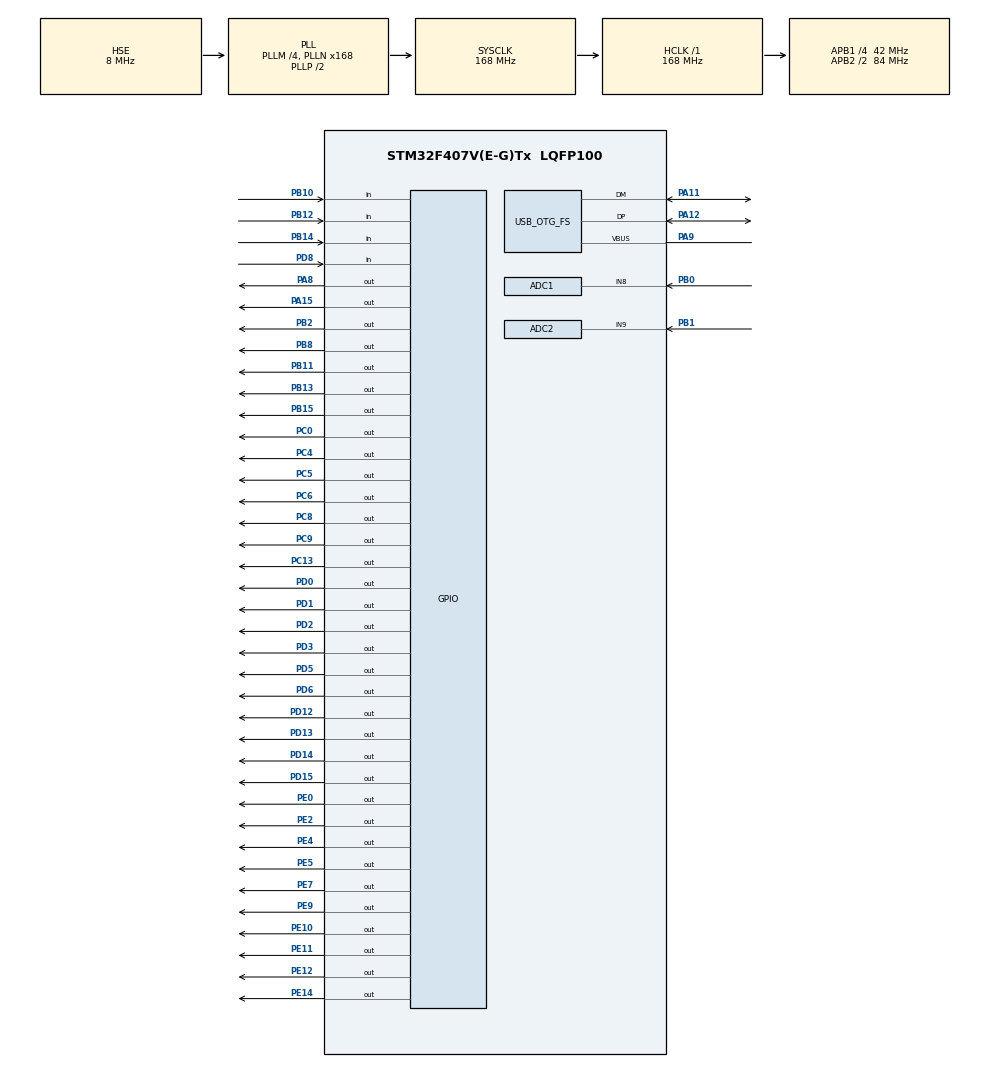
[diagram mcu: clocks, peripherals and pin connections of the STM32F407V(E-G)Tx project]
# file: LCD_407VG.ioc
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ADC1.Channel-0\#ChannelRegularConversion=ADC_CHANNEL_8
ADC1.ClockPrescaler=ADC_CLOCK_SYNC_PCLK_DIV4
ADC1.ContinuousConvMode=ENABLE
ADC1.DMAContinuousRequests=DISABLE
ADC1.DataAlign=ADC_DATAALIGN_RIGHT
ADC1.DiscontinuousConvMode=DISABLE
ADC1.EOCSelection=ADC_EOC_SINGLE_CONV
ADC1.EnableAnalogWatchDog=false
ADC1.ExternalTrigConv=ADC_SOFTWARE_START
ADC1.ExternalTrigConvEdge=ADC_EXTERNALTRIGCONVEDGE_NONE
ADC1.InjNumberOfConversion=0
ADC1.NbrOfConversion=1
ADC1.NbrOfConversionFlag=1
ADC1.Rank-0\#ChannelRegularConversion=1
ADC1.Resolution=ADC_RESOLUTION_12B
ADC1.SamplingTime-0\#ChannelRegularConversion=ADC_SAMPLETIME_3CYCLES
ADC1.ScanConvMode=ENABLE
ADC1.master=1
ADC2.Channel-0\#ChannelRegularConversion=ADC_CHANNEL_9
ADC2.ContinuousConvMode=ENABLE
ADC2.NbrOfConversionFlag=1
ADC2.Rank-0\#ChannelRegularConversion=1
ADC2.SamplingTime-0\#ChannelRegularConversion=ADC_SAMPLETIME_3CYCLES
ADC2.ScanConvMode=ENABLE
FATFS._CODE_PAGE=437
FATFS._MAX_SS=4096
FATFS._STRF_ENCODE=3
FATFS._USE_LFN=1
Mcu.Family=STM32F4
Mcu.Name=STM32F407V(E-G)Tx
Mcu.Package=LQFP100
NVIC.OTG_FS_IRQn=true\:0\:0\:false\:false\:true\:false
NVIC.PriorityGroup=NVIC_PRIORITYGROUP_4
NVIC.TIM1_BRK_TIM9_IRQn=true\:0\:0\:false\:false\:true\:true
NVIC.TIM2_IRQn=true\:0\:0\:false\:false\:true\:true
NVIC.TIM3_IRQn=true\:0\:0\:false\:false\:true\:true
NVIC.TIM4_IRQn=true\:0\:0\:false\:false\:true\:true
NVIC.TIM5_IRQn=true\:0\:0\:false\:false\:true\:true
NVIC.TIM8_BRK_TIM12_IRQn=true\:0\:0\:false\:false\:true\:true
PA11.Mode=Host_Only
PA11.Signal=USB_OTG_FS_DM
PA12.Mode=Host_Only
PA12.Signal=USB_OTG_FS_DP
PA15.Signal=GPIO_Output
PA8.Signal=GPIO_Output
PA9.Mode=Activate_VBUS
PA9.Signal=USB_OTG_FS_VBUS
PB0.Signal=ADCx_IN8
PB1.Signal=ADCx_IN9
PB10.GPIO_PuPd=GPIO_NOPULL
PB10.Signal=GPIO_Input
PB11.Signal=GPIO_Output
PB12.GPIO_PuPd=GPIO_NOPULL
PB12.Signal=GPIO_Input
PB13.Signal=GPIO_Output
PB14.GPIO_PuPd=GPIO_NOPULL
PB14.Signal=GPIO_Input
PB15.Signal=GPIO_Output
PB2.Signal=GPIO_Output
PB8.Signal=GPIO_Output
PC0.Signal=GPIO_Output
PC13-ANTI_TAMP.Signal=GPIO_Output
PC4.Signal=GPIO_Output
PC5.Signal=GPIO_Output
PC6.Signal=GPIO_Output
PC8.Signal=GPIO_Output
PC9.Signal=GPIO_Output
PD0.Signal=GPIO_Output
PD1.Signal=GPIO_Output
PD12.PinState=GPIO_PIN_RESET
PD12.Signal=GPIO_Output
PD13.Signal=GPIO_Output
PD14.Signal=GPIO_Output
PD15.Signal=GPIO_Output
PD2.Signal=GPIO_Output
PD3.Signal=GPIO_Output
PD5.Signal=GPIO_Output
PD6.Signal=GPIO_Output
PD8.GPIO_PuPd=GPIO_NOPULL
PD8.Signal=GPIO_Input
PE0.Signal=GPIO_Output
PE10.Signal=GPIO_Output
PE11.Signal=GPIO_Output
PE12.Signal=GPIO_Output
PE14.Signal=GPIO_Output
PE2.Signal=GPIO_Output
PE4.Signal=GPIO_Output
PE5.Signal=GPIO_Output
PE7.Signal=GPIO_Output
PE9.Signal=GPIO_Output
PH0-OSC_IN.Mode=HSE-External-Clock-Source
PH0-OSC_IN.Signal=RCC_OSC_IN
PH1-OSC_OUT.Mode=HSE-External-Clock-Source
PH1-OSC_OUT.Signal=RCC_OSC_OUT
ProjectManager.HeapSize=0x200
ProjectManager.StackSize=0x400
ProjectManager.TargetToolchain=Makefile
RCC.48MHZClocksFreq_Value=48000000
RCC.AHBFreq_Value=168000000
RCC.APB1CLKDivider=RCC_HCLK_DIV4
RCC.APB1Freq_Value=42000000
RCC.APB1TimFreq_Value=84000000
RCC.APB2CLKDivider=RCC_HCLK_DIV2
RCC.APB2Freq_Value=84000000
RCC.APB2TimFreq_Value=168000000
RCC.CortexFreq_Value=168000000
RCC.HCLKFreq_Value=168000000
RCC.HSE_VALUE=8000000
RCC.HSI_VALUE=16000000
RCC.LSE_VALUE=32768
RCC.PLLM=4
RCC.PLLN=168
RCC.PLLQ=7
RCC.SYSCLKFreq_VALUE=168000000
RCC.SYSCLKSource=RCC_SYSCLKSOURCE_PLLCLK
RCC.VCOOutputFreq_Value=336000000
SH.ADCx_IN8.0=ADC1_IN8,IN8
SH.ADCx_IN9.0=ADC2_IN9,IN9
TIM12.Period=1000
TIM12.Prescaler=8
TIM2.Period=50
TIM2.Prescaler=960
TIM3.Period=2
TIM3.Prescaler=512
TIM4.Period=1000
TIM4.Prescaler=50000
TIM5.Period=20000
TIM5.Prescaler=84
TIM9.Period=1
TIM9.Prescaler=168
USB_HOST.USBH_HandleTypeDef-MSC_FS=hUsbHostFS
USB_HOST.VirtualModeFS=Msc
USB_OTG_FS.VirtualMode=Host_Only
USB_OTG_FS.phy_itface=HCD_PHY_EMBEDDED
VP_FATFS_VS_USB.Mode=USB
VP_TIM12_VS_ClockSourceINT.Mode=Internal
VP_TIM2_VS_ClockSourceINT.Mode=Internal
VP_TIM3_VS_ClockSourceINT.Mode=Internal
VP_TIM4_VS_ClockSourceINT.Mode=Internal
VP_TIM5_VS_ClockSourceINT.Mode=Internal
VP_TIM9_VS_ClockSourceINT.Mode=Internal
VP_USB_HOST_VS_USB_HOST_MSC_FS.Mode=MSC_FS
board=LCD_407VG

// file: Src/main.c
/**
  ******************************************************************************
  * File Name          : main.c
  * Description        : Main program body
  ******************************************************************************
  * This notice applies to any and all portions of this file
  * that are not between comment pairs USER CODE BEGIN and
  * USER CODE END. Other portions of this file, whether
  * inserted by the user or by software development tools
  * are owned by their respective copyright owners.
  *
  * Copyright (c) 2018 STMicroelectronics International N.V.
  * All rights reserved.
  *
  * Redistribution and use in source and binary forms, with or without
  * modification, are permitted, provided that the following conditions are met:
  *
  * 1. Redistribution of source code must retain the above copyright notice,
  *    this list of conditions and the following disclaimer.
  * 2. Redistributions in binary form must reproduce the above copyright notice,
  *    this list of conditions and the following disclaimer in the documentation
  *    and/or other materials provided with the distribution.
  * 3. Neither the name of STMicroelectronics nor the names of other
  *    contributors to this software may be used to endorse or promote products
  *    derived from this software without specific written permission.
  * 4. This software, including modifications and/or derivative works of this
  *    software, must execute solely and exclusively on microcontroller or
  *    microprocessor devices manufactured by or for STMicroelectronics.
  * 5. Redistribution and use of this software other than as permitted under
  *    this license is void and will automatically terminate your rights under
  *    this license.
  *
  * THIS SOFTWARE IS PROVIDED BY STMICROELECTRONICS AND CONTRIBUTORS "AS IS"
  * AND ANY EXPRESS, IMPLIED OR STATUTORY WARRANTIES, INCLUDING, BUT NOT
  * LIMITED TO, THE IMPLIED WARRANTIES OF MERCHANTABILITY, FITNESS FOR A
  * PARTICULAR PURPOSE AND NON-INFRINGEMENT OF THIRD PARTY INTELLECTUAL PROPERTY
  * RIGHTS ARE DISCLAIMED TO THE FULLEST EXTENT PERMITTED BY LAW. IN NO EVENT
  * SHALL STMICROELECTRONICS OR CONTRIBUTORS BE LIABLE FOR ANY DIRECT, INDIRECT,
  * INCIDENTAL, SPECIAL, EXEMPLARY, OR CONSEQUENTIAL DAMAGES (INCLUDING, BUT NOT
  * LIMITED TO, PROCUREMENT OF SUBSTITUTE GOODS OR SERVICES; LOSS OF USE, DATA,
  * OR PROFITS; OR BUSINESS INTERRUPTION) HOWEVER CAUSED AND ON ANY THEORY OF
  * LIABILITY, WHETHER IN CONTRACT, STRICT LIABILITY, OR TORT (INCLUDING
  * NEGLIGENCE OR OTHERWISE) ARISING IN ANY WAY OUT OF THE USE OF THIS SOFTWARE,
  * EVEN IF ADVISED OF THE POSSIBILITY OF SUCH DAMAGE.
  *
  ******************************************************************************
  */

#include "main.h"
#include "stm32f4xx_hal.h"
#include "fatfs.h"
#include "usb_host.h"

/* USER CODE BEGIN Includes */
#include <stdio.h>
#include <stdbool.h>
#include "LCD.h"
#include "MenuLibrary.h"
#include "StatusLEDs.h"
#include "USBdriveLib.h"
#include "config.h"
#include "init.h"
#include "global_variables.h"
#include "Flash.h"
/* USER CODE END Includes */

ADC_HandleTypeDef hadc1;
ADC_HandleTypeDef hadc2;

TIM_HandleTypeDef htim2;
TIM_HandleTypeDef htim3;
TIM_HandleTypeDef htim4;
TIM_HandleTypeDef htim5;
TIM_HandleTypeDef htim9;
TIM_HandleTypeDef htim12;

/* USER CODE BEGIN PV */
/* Private variables ---------------------------------------------------------*/
extern ApplicationTypeDef Appli_state;
extern USBH_HandleTypeDef hUsbHostFS;
/* USER CODE END PV */

void SystemClock_Config(void);
static void MX_GPIO_Init(void);
static void MX_TIM3_Init(void);
static void MX_TIM2_Init(void);
static void MX_TIM4_Init(void);
static void MX_TIM9_Init(void);
static void MX_TIM5_Init(void);
static void MX_ADC1_Init(void);
static void MX_TIM12_Init(void);
static void MX_ADC2_Init(void);
void MX_USB_HOST_Process(void);

/* USER CODE BEGIN PFP */
/* Private function prototypes -----------------------------------------------*/

/* USER CODE END PFP */

/* USER CODE BEGIN 0 */
volatile unsigned int Lines = 3;
volatile unsigned int MenuLayers = MENU_LAYERS;
volatile unsigned int CurrentLayer = 0;
volatile int CurrentMenuPosition[MENU_LAYERS];

volatile int portAPin15Counter=0;
volatile _Bool SetLCD = false;
volatile unsigned int PeriodsToGo = 10;
volatile _Bool UpdateLCD = false;
volatile unsigned int PhaseLCD = 1;
volatile const int TotalPhasesLCDSetup = 13*4;//13;
volatile const int TotalPhasesLCDUpdate = 8*4;//8;
volatile char Text[4][TEXT_LENGTH];

volatile unsigned int colomn = 1;
volatile unsigned int row = 1;

volatile const int CheckCircles = 300;
volatile const int jOnThreshold = 150;
volatile int jTimer = 0;
volatile int jOnUP=0; // PB14
volatile int jOnDOWN=0; // PD8
volatile int jOnOK=0; // PB10
volatile int jOnBACK=0; // PB12
//For the flash-drive
volatile int flashDriveRootContent = 1;

//Global control
volatile int printerState = IDLE;

//Menu options

//The list of the menu nodes
 volatile menuNode print =            {.title = "___MAIN MENU____\0", .name = " Print          \0", .nodeType = PRINTNODETYPE, .mode=OFFMODE};
 volatile menuNode settings =         {.title = "___MAIN MENU____\0", .name = " Settings       \0", .nodeType = SIMPLENODETYPE, .mode=OFFMODE};
     volatile menuNode typeOfPlastic =  {.title = "____SETTINGS____\0", .name = " Type of plastic\0", .nodeType = SIMPLENODETYPE, .mode=OFFMODE};
         volatile menuNode ABSplastic =   {.title = "TYPE OF PLASTIC_\0", .name = " ABS plastic    \0", .nodeType = ABSPLASTICNODETYPE, .mode=OFFMODE};
         volatile menuNode PLAplastic =   {.title = "TYPE OF PLASTIC_\0", .name = " PLA plastic    \0", .nodeType = PLAPLASTICNODETYPE, .mode=OFFMODE};
     volatile menuNode extruderTemperature = {.title = "____SETTINGS____\0", .name = " Extruder temp. \0", .nodeType = EXTRUDERTEMPERATURENODETYPE, .mode=OFFMODE};
     volatile menuNode bedTemperature =      {.title = "____SETTINGS____\0", .name = " Bed temp.      \0", .nodeType = BEDTEMPERATURENODETYPE, .mode=OFFMODE};
     volatile menuNode printCube =     {.title = "____SETTINGS____\0", .name = " Print a cube   \0", .nodeType = SIMPLENODETYPE, .mode=OFFMODE};
     volatile menuNode language =      {.title = "____SETTINGS____\0", .name = " Language       \0", .nodeType = SIMPLENODETYPE, .mode=OFFMODE};
         volatile menuNode english =     {.title = "____LANGUAGE____\0", .name = " English        \0", .nodeType = ENGLISHNODETYPE, .mode=OFFMODE};
         volatile menuNode russian =     {.title = "____LANGUAGE____\0", .name = " Russian        \0", .nodeType = RUSSIANNODETYPE, .mode=OFFMODE};
 volatile menuNode changeFilament =   {.title = "___MAIN MENU____\0", .name = " Change filament\0", .nodeType = CHANGEFILAMENTNODETYPE, .mode=OFFMODE};
 volatile menuNode help =             {.title = "___MAIN MENU____\0", .name = " Help           \0", .nodeType = HELPNODETYPE, .mode=OFFMODE};
//Pointer to a menu
volatile menuNode * pcurrentMenuNode = & print;

//For a USB Flash-Drive

/* USER CODE END 0 */

int main(void)
{

  /* USER CODE BEGIN 1 */
  //Kostyl!!!
  sprintf(extruderTemperature.name, "%s%c%s",  " Extruder t", 0b11101111, "C   \0");
  sprintf(bedTemperature.name, "%s%c%s",  " Bed t", 0b11101111, "C        \0");
  sprintf(russian.name, "%c%c%c%c%c%c%c%c%c%c%c%c%c%c%c%c%c", ' ','P','y','c','c',0b10111010,0b10111000,0b10111001,' ',' ',' ',' ',' ',' ',' ',' ','\0');
  //sprintf(ABSplastic.name, "%s%c%s",  " ABS plastic ", 0b01111110, "  ");
  //Menu nodes initialization
  //HAL_GPIO_WritePin(GPIOD, GPIO_PIN_12, GPIO_PIN_SET);

  /* CurrentMenuPosition initialization */
  /*volatile int i=0;
  for (i=0; i<MenuLayers; i++)
  {
    CurrentMenuPosition[i]=0;
  };
  CurrentMenuPosition[CurrentLayer]=1;*/
  /* Text initialization */
  /*volatile int bufPosition = CurrentMenuPosition[CurrentLayer];
  sprintf(Text[0],MenuTitle(CurrentMenuPosition));
  CurrentMenuPosition[CurrentLayer]=bufPosition;
  for (i=1; i<Lines+1; i++)
  {
    sprintf(Text[i],MenuOption(CurrentMenuPosition));
    CurrentMenuPosition[CurrentLayer]+=1;
  };
  CurrentMenuPosition[CurrentLayer]=bufPosition;
  Text[1][0] = '>';*/
  /* USER CODE END 1 */

  /* MCU Configuration----------------------------------------------------------*/

  /* Reset of all peripherals, Initializes the Flash interface and the Systick. */
  HAL_Init();

  /* Configure the system clock */
  SystemClock_Config();

  /* Initialize all configured peripherals */
  MX_GPIO_Init();
  MX_TIM3_Init();
  MX_TIM2_Init();
  MX_USB_HOST_Init();
  MX_FATFS_Init();
  MX_TIM4_Init();
  MX_TIM9_Init();
  MX_TIM5_Init();
  MX_ADC1_Init();
  MX_TIM12_Init();
  MX_ADC2_Init();

  /* USER CODE BEGIN 2 */
  /*Setup the Pins*/
  NodeInitialization();
  pcurrentMenuNode = & print;
  loadNewScreen(pcurrentMenuNode);
  SetPins();
  /*Initialize the timer 2*/
  HAL_TIM_Base_Start_IT(&htim2);
  HAL_NVIC_EnableIRQ(TIM2_IRQn);
  /*Initialize the timer 3*/
  HAL_TIM_Base_Start_IT(&htim3);
  HAL_NVIC_EnableIRQ(TIM3_IRQn);
  /*Initialize the timer 4*/
  HAL_TIM_Base_Start_IT(&htim4);
  HAL_NVIC_EnableIRQ(TIM4_IRQn);
    /*Initialize the timer 8*/
  HAL_TIM_Base_Start_IT(&htim5);
  //HAL_NVIC_EnableIRQ(TIM8_IRQn);
    /*Initialize the timer 9*/
  HAL_TIM_Base_Start_IT(&htim9);
    /*Initialize the timer 12*/
  HAL_TIM_Base_Start_IT(&htim12);
  //HAL_NVIC_EnableIRQ(TIM9_IRQn);

    //HAL_GPIO_WritePin(GPIOD, GPIO_PIN_12, GPIO_PIN_SET);
    //HAL_GPIO_WritePin(GPIOD, GPIO_PIN_13, GPIO_PIN_SET);
    //HAL_GPIO_WritePin(GPIOD, GPIO_PIN_14, GPIO_PIN_SET);
    //HAL_GPIO_WritePin(GPIOD, GPIO_PIN_15, GPIO_PIN_SET);
    //PinD12On();
  //UpdateLCD=true;
  //while(UpdateLCD) {}

  //Errase the flash memory. Commented by default
/*
  HAL_FLASH_Unlock();
  __HAL_FLASH_CLEAR_FLAG( FLASH_FLAG_EOP |  FLASH_FLAG_WRPERR | FLASH_FLAG_PGAERR | FLASH_FLAG_PGPERR | FLASH_FLAG_PGSERR);
  FLASH_Erase_Sector(FLASH_SECTOR_11, FLASH_VOLTAGE_RANGE_3);
  HAL_FLASH_Lock();
*/

  //First look into the flash memory
  if ((*(uint16_t *)(startAddress))==(uint16_t)0) //flash memory is clean
  {
    //take all the variables from the data
    CurrentLanguage = data[1];
    extruderTargetTamperature = data[2];
    bedTargetTamperature = data[3];
    plasticType = data[4];
  }else if((*(uint16_t *)(startAddress))==(uint16_t)1){ //if the flash memory contain any information
    //Extract the information from the flash memory
    readFlash();
  }

  //Plastic type setting
  if (plasticType == PLA)
  {
    extruderHigherTamperature = PLAHIGHEREXTRUDERTEMPERATURE;
    extruderLowerTamperature = PLALOWEREXTRUDERTEMPERATURE;
    bedHigherTamperature = PLAHIGHERBEDTEMPERATURE;
    bedLowerTamperature = PLALOWERBEDTEMPERATURE;
  }else if(plasticType == ABS){
    extruderHigherTamperature = ABSHIGHEREXTRUDERTEMPERATURE;
    extruderLowerTamperature = ABSLOWEREXTRUDERTEMPERATURE;
    bedHigherTamperature = ABSHIGHERBEDTEMPERATURE;
    bedLowerTamperature = ABSLOWERBEDTEMPERATURE;
  }

  //Draw the menu on LCD for the first time
  switch (CurrentLanguage)
  {
    case ENGLISH:
    SwitchToEnglish();
    break;
    case RUSSIAN:
    SwitchToRussian();
    break;
    default:
    SwitchToRussian();
    break;
  }
  loadNewScreen(pcurrentMenuNode);
  UpdateLCD = true;
  while(UpdateLCD) {}

  /* USER CODE END 2 */

  /* Infinite loop */
  while (1)
  {
    MX_USB_HOST_Process();

  /* USER CODE BEGIN 3 */

    //Debug example
    /*sprintf(Text[0],"%s",NumberToString(current_temperature_extruder));
    UpdateLCD = true;
    while(UpdateLCD)
    {

    }*/

    if (UpdateLCD == false)
    {
      switch (printerState)
      {
        case PRESSEDDOWN:
        pressedDown();
        UpdateLCD = true;
        printerState=IDLE;
        break;
        case PRESSEDUP:
        pressedUp();
        UpdateLCD = true;
        printerState=IDLE;
        break;
        case PRESSEDOK:
        pressedOk();
        UpdateLCD = true;
        printerState=IDLE;
        break;
        case PRESSEDBACK:
        pressedBack();
        UpdateLCD = true;
        printerState=IDLE;
        break;
      }
    }

  }
  /* USER CODE END 3 */

}

/** System Clock Configuration
*/
void SystemClock_Config(void)
{

  RCC_OscInitTypeDef RCC_OscInitStruct;
  RCC_ClkInitTypeDef RCC_ClkInitStruct;

    /**Configure the main internal regulator output voltage
    */
  __HAL_RCC_PWR_CLK_ENABLE();

  __HAL_PWR_VOLTAGESCALING_CONFIG(PWR_REGULATOR_VOLTAGE_SCALE1);

    /**Initializes the CPU, AHB and APB busses clocks
    */
  RCC_OscInitStruct.OscillatorType = RCC_OSCILLATORTYPE_HSE;
  RCC_OscInitStruct.HSEState = RCC_HSE_BYPASS;
  RCC_OscInitStruct.PLL.PLLState = RCC_PLL_ON;
  RCC_OscInitStruct.PLL.PLLSource = RCC_PLLSOURCE_HSE;
  RCC_OscInitStruct.PLL.PLLM = 4;
  RCC_OscInitStruct.PLL.PLLN = 168;
  RCC_OscInitStruct.PLL.PLLP = RCC_PLLP_DIV2;
  RCC_OscInitStruct.PLL.PLLQ = 7;
  if (HAL_RCC_OscConfig(&RCC_OscInitStruct) != HAL_OK)
  {
    _Error_Handler(__FILE__, __LINE__);
  }

    /**Initializes the CPU, AHB and APB busses clocks
    */
  RCC_ClkInitStruct.ClockType = RCC_CLOCKTYPE_HCLK|RCC_CLOCKTYPE_SYSCLK
                              |RCC_CLOCKTYPE_PCLK1|RCC_CLOCKTYPE_PCLK2;
  RCC_ClkInitStruct.SYSCLKSource = RCC_SYSCLKSOURCE_PLLCLK;
  RCC_ClkInitStruct.AHBCLKDivider = RCC_SYSCLK_DIV1;
  RCC_ClkInitStruct.APB1CLKDivider = RCC_HCLK_DIV4;
  RCC_ClkInitStruct.APB2CLKDivider = RCC_HCLK_DIV2;

  if (HAL_RCC_ClockConfig(&RCC_ClkInitStruct, FLASH_LATENCY_5) != HAL_OK)
  {
    _Error_Handler(__FILE__, __LINE__);
  }

    /**Configure the Systick interrupt time
    */
  HAL_SYSTICK_Config(HAL_RCC_GetHCLKFreq()/1000);

    /**Configure the Systick
    */
  HAL_SYSTICK_CLKSourceConfig(SYSTICK_CLKSOURCE_HCLK);

  /* SysTick_IRQn interrupt configuration */
  HAL_NVIC_SetPriority(SysTick_IRQn, 0, 0);
}

/* ADC1 init function */
static void MX_ADC1_Init(void)
{

  ADC_ChannelConfTypeDef sConfig;

    /**Configure the global features of the ADC (Clock, Resolution, Data Alignment and number of conversion)
    */
  hadc1.Instance = ADC1;
  hadc1.Init.ClockPrescaler = ADC_CLOCK_SYNC_PCLK_DIV4;
  hadc1.Init.Resolution = ADC_RESOLUTION_12B;
  hadc1.Init.ScanConvMode = ENABLE;
  hadc1.Init.ContinuousConvMode = ENABLE;
  hadc1.Init.DiscontinuousConvMode = DISABLE;
  hadc1.Init.ExternalTrigConvEdge = ADC_EXTERNALTRIGCONVEDGE_NONE;
  hadc1.Init.ExternalTrigConv = ADC_SOFTWARE_START;
  hadc1.Init.DataAlign = ADC_DATAALIGN_RIGHT;
  hadc1.Init.NbrOfConversion = 1;
  hadc1.Init.DMAContinuousRequests = DISABLE;
  hadc1.Init.EOCSelection = ADC_EOC_SINGLE_CONV;
  if (HAL_ADC_Init(&hadc1) != HAL_OK)
  {
    _Error_Handler(__FILE__, __LINE__);
  }

    /**Configure for the selected ADC regular channel its corresponding rank in the sequencer and its sample time.
    */
  sConfig.Channel = ADC_CHANNEL_8;
  sConfig.Rank = 1;
  sConfig.SamplingTime = ADC_SAMPLETIME_3CYCLES;
  if (HAL_ADC_ConfigChannel(&hadc1, &sConfig) != HAL_OK)
  {
    _Error_Handler(__FILE__, __LINE__);
  }

}

/* ADC2 init function */
static void MX_ADC2_Init(void)
{

  ADC_ChannelConfTypeDef sConfig;

    /**Configure the global features of the ADC (Clock, Resolution, Data Alignment and number of conversion)
    */
  hadc2.Instance = ADC2;
  hadc2.Init.ClockPrescaler = ADC_CLOCK_SYNC_PCLK_DIV4;
  hadc2.Init.Resolution = ADC_RESOLUTION_12B;
  hadc2.Init.ScanConvMode = ENABLE;
  hadc2.Init.ContinuousConvMode = ENABLE;
  hadc2.Init.DiscontinuousConvMode = DISABLE;
  hadc2.Init.ExternalTrigConvEdge = ADC_EXTERNALTRIGCONVEDGE_NONE;
  hadc2.Init.ExternalTrigConv = ADC_SOFTWARE_START;
  hadc2.Init.DataAlign = ADC_DATAALIGN_RIGHT;
  hadc2.Init.NbrOfConversion = 1;
  hadc2.Init.DMAContinuousRequests = DISABLE;
  hadc2.Init.EOCSelection = ADC_EOC_SINGLE_CONV;
  if (HAL_ADC_Init(&hadc2) != HAL_OK)
  {
    _Error_Handler(__FILE__, __LINE__);
  }

    /**Configure for the selected ADC regular channel its corresponding rank in the sequencer and its sample time.
    */
  sConfig.Channel = ADC_CHANNEL_9;
  sConfig.Rank = 1;
  sConfig.SamplingTime = ADC_SAMPLETIME_3CYCLES;
  if (HAL_ADC_ConfigChannel(&hadc2, &sConfig) != HAL_OK)
  {
    _Error_Handler(__FILE__, __LINE__);
  }

}

/* TIM2 init function */
static void MX_TIM2_Init(void)
{

  TIM_ClockConfigTypeDef sClockSourceConfig;
  TIM_MasterConfigTypeDef sMasterConfig;

  htim2.Instance = TIM2;
  htim2.Init.Prescaler = 960;
  htim2.Init.CounterMode = TIM_COUNTERMODE_UP;
  htim2.Init.Period = 50;
  htim2.Init.ClockDivision = TIM_CLOCKDIVISION_DIV1;
  if (HAL_TIM_Base_Init(&htim2) != HAL_OK)
  {
    _Error_Handler(__FILE__, __LINE__);
  }

  sClockSourceConfig.ClockSource = TIM_CLOCKSOURCE_INTERNAL;
  if (HAL_TIM_ConfigClockSource(&htim2, &sClockSourceConfig) != HAL_OK)
  {
    _Error_Handler(__FILE__, __LINE__);
  }

  sMasterConfig.MasterOutputTrigger = TIM_TRGO_RESET;
  sMasterConfig.MasterSlaveMode = TIM_MASTERSLAVEMODE_DISABLE;
  if (HAL_TIMEx_MasterConfigSynchronization(&htim2, &sMasterConfig) != HAL_OK)
  {
    _Error_Handler(__FILE__, __LINE__);
  }

}

/* TIM3 init function */
static void MX_TIM3_Init(void)
{

  TIM_ClockConfigTypeDef sClockSourceConfig;
  TIM_MasterConfigTypeDef sMasterConfig;

  htim3.Instance = TIM3;
  htim3.Init.Prescaler = 512;
  htim3.Init.CounterMode = TIM_COUNTERMODE_UP;
  htim3.Init.Period = 2;
  htim3.Init.ClockDivision = TIM_CLOCKDIVISION_DIV1;
  if (HAL_TIM_Base_Init(&htim3) != HAL_OK)
  {
    _Error_Handler(__FILE__, __LINE__);
  }

  sClockSourceConfig.ClockSource = TIM_CLOCKSOURCE_INTERNAL;
  if (HAL_TIM_ConfigClockSource(&htim3, &sClockSourceConfig) != HAL_OK)
  {
    _Error_Handler(__FILE__, __LINE__);
  }

  sMasterConfig.MasterOutputTrigger = TIM_TRGO_RESET;
  sMasterConfig.MasterSlaveMode = TIM_MASTERSLAVEMODE_DISABLE;
  if (HAL_TIMEx_MasterConfigSynchronization(&htim3, &sMasterConfig) != HAL_OK)
  {
    _Error_Handler(__FILE__, __LINE__);
  }

}

/* TIM4 init function */
static void MX_TIM4_Init(void)
{

  TIM_ClockConfigTypeDef sClockSourceConfig;
  TIM_MasterConfigTypeDef sMasterConfig;

  htim4.Instance = TIM4;
  htim4.Init.Prescaler = 50000;
  htim4.Init.CounterMode = TIM_COUNTERMODE_UP;
  htim4.Init.Period = 1000;
  htim4.Init.ClockDivision = TIM_CLOCKDIVISION_DIV1;
  if (HAL_TIM_Base_Init(&htim4) != HAL_OK)
  {
    _Error_Handler(__FILE__, __LINE__);
  }

  sClockSourceConfig.ClockSource = TIM_CLOCKSOURCE_INTERNAL;
  if (HAL_TIM_ConfigClockSource(&htim4, &sClockSourceConfig) != HAL_OK)
  {
    _Error_Handler(__FILE__, __LINE__);
  }

  sMasterConfig.MasterOutputTrigger = TIM_TRGO_RESET;
  sMasterConfig.MasterSlaveMode = TIM_MASTERSLAVEMODE_DISABLE;
  if (HAL_TIMEx_MasterConfigSynchronization(&htim4, &sMasterConfig) != HAL_OK)
  {
    _Error_Handler(__FILE__, __LINE__);
  }

}

/* TIM5 init function */
static void MX_TIM5_Init(void)
{

  TIM_ClockConfigTypeDef sClockSourceConfig;
  TIM_MasterConfigTypeDef sMasterConfig;

  htim5.Instance = TIM5;
  htim5.Init.Prescaler = 84;
  htim5.Init.CounterMode = TIM_COUNTERMODE_UP;
  htim5.Init.Period = 20000;
  htim5.Init.ClockDivision = TIM_CLOCKDIVISION_DIV1;
  if (HAL_TIM_Base_Init(&htim5) != HAL_OK)
  {
    _Error_Handler(__FILE__, __LINE__);
  }

  sClockSourceConfig.ClockSource = TIM_CLOCKSOURCE_INTERNAL;
  if (HAL_TIM_ConfigClockSource(&htim5, &sClockSourceConfig) != HAL_OK)
  {
    _Error_Handler(__FILE__, __LINE__);
  }

  sMasterConfig.MasterOutputTrigger = TIM_TRGO_RESET;
  sMasterConfig.MasterSlaveMode = TIM_MASTERSLAVEMODE_DISABLE;
  if (HAL_TIMEx_MasterConfigSynchronization(&htim5, &sMasterConfig) != HAL_OK)
  {
    _Error_Handler(__FILE__, __LINE__);
  }

}

/* TIM9 init function */
static void MX_TIM9_Init(void)
{

  TIM_ClockConfigTypeDef sClockSourceConfig;

  htim9.Instance = TIM9;
  htim9.Init.Prescaler = 168;
  htim9.Init.CounterMode = TIM_COUNTERMODE_UP;
  htim9.Init.Period = 1;
  htim9.Init.ClockDivision = TIM_CLOCKDIVISION_DIV1;
  if (HAL_TIM_Base_Init(&htim9) != HAL_OK)
  {
    _Error_Handler(__FILE__, __LINE__);
  }

  sClockSourceConfig.ClockSource = TIM_CLOCKSOURCE_INTERNAL;
  if (HAL_TIM_ConfigClockSource(&htim9, &sClockSourceConfig) != HAL_OK)
  {
    _Error_Handler(__FILE__, __LINE__);
  }

}

/* TIM12 init function */
static void MX_TIM12_Init(void)
{

  TIM_ClockConfigTypeDef sClockSourceConfig;

  htim12.Instance = TIM12;
  htim12.Init.Prescaler = 8;
  htim12.Init.CounterMode = TIM_COUNTERMODE_UP;
  htim12.Init.Period = 1000;
  htim12.Init.ClockDivision = TIM_CLOCKDIVISION_DIV1;
  if (HAL_TIM_Base_Init(&htim12) != HAL_OK)
  {
    _Error_Handler(__FILE__, __LINE__);
  }

  sClockSourceConfig.ClockSource = TIM_CLOCKSOURCE_INTERNAL;
  if (HAL_TIM_ConfigClockSource(&htim12, &sClockSourceConfig) != HAL_OK)
  {
    _Error_Handler(__FILE__, __LINE__);
  }

}

/** Configure pins as
        * Analog
        * Input
        * Output
        * EVENT_OUT
        * EXTI
*/
static void MX_GPIO_Init(void)
{

  GPIO_InitTypeDef GPIO_InitStruct;

  /* GPIO Ports Clock Enable */
  __HAL_RCC_GPIOE_CLK_ENABLE();
  __HAL_RCC_GPIOC_CLK_ENABLE();
  __HAL_RCC_GPIOH_CLK_ENABLE();
  __HAL_RCC_GPIOB_CLK_ENABLE();
  __HAL_RCC_GPIOD_CLK_ENABLE();
  __HAL_RCC_GPIOA_CLK_ENABLE();

  /*Configure GPIO pin Output Level */
  HAL_GPIO_WritePin(GPIOE, GPIO_PIN_2|GPIO_PIN_4|GPIO_PIN_5|GPIO_PIN_7
                          |GPIO_PIN_9|GPIO_PIN_10|GPIO_PIN_11|GPIO_PIN_12
                          |GPIO_PIN_14|GPIO_PIN_0, GPIO_PIN_RESET);

  /*Configure GPIO pin Output Level */
  HAL_GPIO_WritePin(GPIOC, GPIO_PIN_13|GPIO_PIN_0|GPIO_PIN_4|GPIO_PIN_5
                          |GPIO_PIN_6|GPIO_PIN_8|GPIO_PIN_9, GPIO_PIN_RESET);

  /*Configure GPIO pin Output Level */
  HAL_GPIO_WritePin(GPIOB, GPIO_PIN_2|GPIO_PIN_11|GPIO_PIN_13|GPIO_PIN_15
                          |GPIO_PIN_8, GPIO_PIN_RESET);

  /*Configure GPIO pin Output Level */
  HAL_GPIO_WritePin(GPIOD, GPIO_PIN_12|GPIO_PIN_13|GPIO_PIN_14|GPIO_PIN_15
                          |GPIO_PIN_0|GPIO_PIN_1|GPIO_PIN_2|GPIO_PIN_3
                          |GPIO_PIN_5|GPIO_PIN_6, GPIO_PIN_RESET);

  /*Configure GPIO pin Output Level */
  HAL_GPIO_WritePin(GPIOA, GPIO_PIN_8|GPIO_PIN_15, GPIO_PIN_RESET);

  /*Configure GPIO pins : PE2 PE4 PE5 PE7
                           PE9 PE10 PE11 PE12
                           PE14 PE0 */
  GPIO_InitStruct.Pin = GPIO_PIN_2|GPIO_PIN_4|GPIO_PIN_5|GPIO_PIN_7
                          |GPIO_PIN_9|GPIO_PIN_10|GPIO_PIN_11|GPIO_PIN_12
                          |GPIO_PIN_14|GPIO_PIN_0;
  GPIO_InitStruct.Mode = GPIO_MODE_OUTPUT_PP;
  GPIO_InitStruct.Pull = GPIO_NOPULL;
  GPIO_InitStruct.Speed = GPIO_SPEED_FREQ_LOW;
  HAL_GPIO_Init(GPIOE, &GPIO_InitStruct);

  /*Configure GPIO pins : PC13 PC0 PC4 PC5
                           PC6 PC8 PC9 */
  GPIO_InitStruct.Pin = GPIO_PIN_13|GPIO_PIN_0|GPIO_PIN_4|GPIO_PIN_5
                          |GPIO_PIN_6|GPIO_PIN_8|GPIO_PIN_9;
  GPIO_InitStruct.Mode = GPIO_MODE_OUTPUT_PP;
  GPIO_InitStruct.Pull = GPIO_NOPULL;
  GPIO_InitStruct.Speed = GPIO_SPEED_FREQ_LOW;
  HAL_GPIO_Init(GPIOC, &GPIO_InitStruct);

  /*Configure GPIO pins : PB2 PB11 PB13 PB15
                           PB8 */
  GPIO_InitStruct.Pin = GPIO_PIN_2|GPIO_PIN_11|GPIO_PIN_13|GPIO_PIN_15
                          |GPIO_PIN_8;
  GPIO_InitStruct.Mode = GPIO_MODE_OUTPUT_PP;
  GPIO_InitStruct.Pull = GPIO_NOPULL;
  GPIO_InitStruct.Speed = GPIO_SPEED_FREQ_LOW;
  HAL_GPIO_Init(GPIOB, &GPIO_InitStruct);

  /*Configure GPIO pins : PB10 PB12 PB14 */
  GPIO_InitStruct.Pin = GPIO_PIN_10|GPIO_PIN_12|GPIO_PIN_14;
  GPIO_InitStruct.Mode = GPIO_MODE_INPUT;
  GPIO_InitStruct.Pull = GPIO_NOPULL;
  HAL_GPIO_Init(GPIOB, &GPIO_InitStruct);

  /*Configure GPIO pin : PD8 */
  GPIO_InitStruct.Pin = GPIO_PIN_8;
  GPIO_InitStruct.Mode = GPIO_MODE_INPUT;
  GPIO_InitStruct.Pull = GPIO_NOPULL;
  HAL_GPIO_Init(GPIOD, &GPIO_InitStruct);

  /*Configure GPIO pins : PD12 PD13 PD14 PD15
                           PD0 PD1 PD2 PD3
                           PD5 PD6 */
  GPIO_InitStruct.Pin = GPIO_PIN_12|GPIO_PIN_13|GPIO_PIN_14|GPIO_PIN_15
                          |GPIO_PIN_0|GPIO_PIN_1|GPIO_PIN_2|GPIO_PIN_3
                          |GPIO_PIN_5|GPIO_PIN_6;
  GPIO_InitStruct.Mode = GPIO_MODE_OUTPUT_PP;
  GPIO_InitStruct.Pull = GPIO_NOPULL;
  GPIO_InitStruct.Speed = GPIO_SPEED_FREQ_LOW;
  HAL_GPIO_Init(GPIOD, &GPIO_InitStruct);

  /*Configure GPIO pins : PA8 PA15 */
  GPIO_InitStruct.Pin = GPIO_PIN_8|GPIO_PIN_15;
  GPIO_InitStruct.Mode = GPIO_MODE_OUTPUT_PP;
  GPIO_InitStruct.Pull = GPIO_NOPULL;
  GPIO_InitStruct.Speed = GPIO_SPEED_FREQ_LOW;
  HAL_GPIO_Init(GPIOA, &GPIO_InitStruct);

}

void _Error_Handler(char * file, int line)
{
  while(1)
  {
  }
}

/************************ (C) COPYRIGHT STMicroelectronics *****END OF FILE****/
